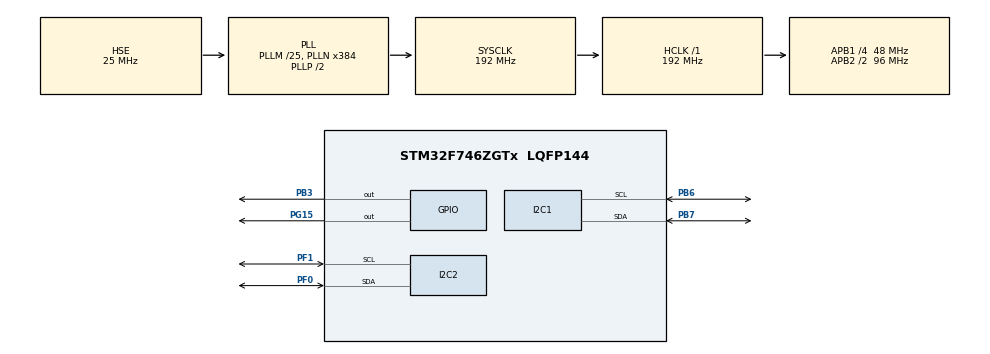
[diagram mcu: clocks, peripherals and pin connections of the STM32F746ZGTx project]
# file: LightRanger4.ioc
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I2C1.Timing=0x20303E5D
I2C2.Timing=0x20303E5D
Mcu.Family=STM32F7
Mcu.Name=STM32F746ZGTx
Mcu.Package=LQFP144
NVIC.PriorityGroup=NVIC_PRIORITYGROUP_4
PB3.Signal=GPIO_Output
PB4.Signal=S_TIM3_CH1
PB6.Mode=I2C
PB6.Signal=I2C1_SCL
PB7.Mode=I2C
PB7.Signal=I2C1_SDA
PC14/OSC32_IN.Mode=LSE-External-Oscillator
PC14/OSC32_IN.Signal=RCC_OSC32_IN
PC15/OSC32_OUT.Mode=LSE-External-Oscillator
PC15/OSC32_OUT.Signal=RCC_OSC32_OUT
PF0.Mode=I2C
PF0.Signal=I2C2_SDA
PF1.Mode=I2C
PF1.Signal=I2C2_SCL
PG15.Signal=GPIO_Output
PH0/OSC_IN.Mode=HSE-External-Oscillator
PH0/OSC_IN.Signal=RCC_OSC_IN
PH1/OSC_OUT.Mode=HSE-External-Oscillator
PH1/OSC_OUT.Signal=RCC_OSC_OUT
ProjectManager.HeapSize=0x200
ProjectManager.StackSize=0x400
ProjectManager.TargetToolchain=STM32CubeIDE
RCC.AHBFreq_Value=192000000
RCC.APB1CLKDivider=RCC_HCLK_DIV4
RCC.APB1Freq_Value=48000000
RCC.APB1TimFreq_Value=96000000
RCC.APB2CLKDivider=RCC_HCLK_DIV2
RCC.APB2Freq_Value=96000000
RCC.APB2TimFreq_Value=192000000
RCC.CortexFreq_Value=192000000
RCC.HCLKFreq_Value=192000000
RCC.HSE_VALUE=25000000
RCC.HSI_VALUE=16000000
RCC.PLLM=25
RCC.PLLN=384
RCC.PLLQ=8
RCC.PLLSourceVirtual=RCC_PLLSOURCE_HSE
RCC.SYSCLKFreq_VALUE=192000000
RCC.SYSCLKSource=RCC_SYSCLKSOURCE_PLLCLK
RCC.USBFreq_Value=48000000
RCC.VCOOutputFreq_Value=384000000
SH.S_TIM3_CH1.0=TIM3_CH1
board=custom

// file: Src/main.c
/* USER CODE BEGIN Header */
/**
  ******************************************************************************
  * @file           : main.c
  * @brief          : Main program body
  ******************************************************************************
  * @attention
  *
  * <h2><center>&copy; Copyright (c) 2021 STMicroelectronics.
  * All rights reserved.</center></h2>
  *
  * This software component is licensed by ST under Ultimate Liberty license
  * SLA0044, the "License"; You may not use this file except in compliance with
  * the License. You may obtain a copy of the License at:
  *                             www.st.com/SLA0044
  *
  ******************************************************************************
  */
/* USER CODE END Header */

#include "main.h"

/* USER CODE BEGIN Includes */
#include "SSD1963.h"
#include "STMPE610.h"
#include <math.h>

#include "GUI.h"
#include "LCDConf.h"

#include <stdint.h>
#include <stdio.h>

#include "Windows/LightRanger4_appDLG.h"
#include "vl53l1_api.h"
/* USER CODE END Includes */

/* USER CODE BEGIN PTD */
extern volatile GUI_TIMER_TIME OS_TimeMS;
/* USER CODE END PTD */

/* USER CODE BEGIN PM */
#define SHORT_DISTANCE_MODE 0
#define MEDIUM_DISTANCE_MODE 1
#define LONG_DISTANCE_MODE 2

#define TB_SHORT_LOW	20
#define TB_MEDIUM_LOW	33
#define TB_LONG_LOW 	33
#define TB_HIGH			999
#define IMP_HIGH		1004
/* USER CODE END PM */

I2C_HandleTypeDef hi2c1;
I2C_HandleTypeDef hi2c2;

/* USER CODE BEGIN PV */
uint16_t X_koordinata=0;
uint16_t Y_koordinata=0;
uint16_t keyPressed=0;

uint32_t timingBudget = 0;
uint32_t interMeasurementPeriod = 0;
int distanceMode = 0;

bool start;
/* USER CODE END PV */

void SystemClock_Config(void);
static void MX_GPIO_Init(void);
static void MX_I2C1_Init(void);
static void MX_I2C2_Init(void);

/* USER CODE BEGIN 0 */
void HAL_SYSTICK_Callback(void)
{
	OS_TimeMS++;
}
/* USER CODE END 0 */

int main(void)
{

  /* MCU Configuration--------------------------------------------------------*/

  /* Reset of all peripherals, Initializes the Flash interface and the Systick. */
  HAL_Init();

  /* Configure the system clock */
  SystemClock_Config();

  /* Initialize all configured peripherals */
  MX_GPIO_Init();
  MX_I2C1_Init();
  MX_I2C2_Init();
  /* USER CODE BEGIN 2 */
  Init_LCD_GPIO();
  Init_TOUCH_GPIO(hi2c1);
  STMPE610_Init();

  DisplayApp_Init();

  VL53L1_RangingMeasurementData_t RangingData;
  VL53L1_Dev_t  vl53l1_c; // center module
  VL53L1_DEV    Dev = &vl53l1_c;

  Dev->I2cHandle = &hi2c2;
  Dev->I2cDevAddr = 0x52;

  VL53L1_WaitDeviceBooted( Dev );
  VL53L1_DataInit( Dev );
  VL53L1_StaticInit( Dev );

  /* USER CODE END 2 */

  /* Infinite loop */
  while (1)
  {

    /* USER CODE BEGIN 3 */
	 X_koordinata=STMPE610_GetX_TOUCH();
	 Y_koordinata=STMPE610_GetY_TOUCH();

	 STMPE610_read_xyz();
	 GUI_TOUCH_Exec();
	 keyPressed=GUI_GetKey();

	 GUI_Delay(1);

	 GUI_SetColor(GUI_BLACK);
	 GUI_SetFont(&GUI_Font20B_ASCII);

	 if(OK_Button())
	 {
		 start = false;
		 VL53L1_StopMeasurement(Dev);

		 distanceMode = DistanceMode();
		 switch(distanceMode)
		 {
		 case SHORT_DISTANCE_MODE:
			 VL53L1_SetDistanceMode( Dev, VL53L1_DISTANCEMODE_SHORT );
			 timingBudget = ( (TB_HIGH - TB_SHORT_LOW) * ((float)GetTimingBudget_Percentage() / 100) ) + TB_SHORT_LOW;
			 break;
		 case MEDIUM_DISTANCE_MODE:
			 VL53L1_SetDistanceMode( Dev, VL53L1_DISTANCEMODE_MEDIUM );
			 timingBudget = ( (TB_HIGH - TB_MEDIUM_LOW) * ((float)GetTimingBudget_Percentage() / 100) ) + TB_MEDIUM_LOW;
			 break;
		 case LONG_DISTANCE_MODE:
			 VL53L1_SetDistanceMode( Dev, VL53L1_DISTANCEMODE_LONG );
			 timingBudget = ( (TB_HIGH - TB_LONG_LOW) * ((float)GetTimingBudget_Percentage() / 100) ) + TB_LONG_LOW;
			 break;
		 }

		 interMeasurementPeriod = ( (IMP_HIGH - timingBudget+4) * ((float)GetInterMeasPeriod_Percentage() / 100) ) + timingBudget+4;
		 timingBudget = timingBudget*1000;

		 VL53L1_SetDistanceMode( Dev, distanceMode );
		 VL53L1_SetMeasurementTimingBudgetMicroSeconds( Dev, timingBudget );
		 VL53L1_SetInterMeasurementPeriodMilliSeconds( Dev, interMeasurementPeriod );
	 }

	 if(START_Button())
		 start = true;

	 if(STOP_Button())
		 start = false;

	 if(start)
	 {
		 VL53L1_StartMeasurement( Dev );
		 VL53L1_WaitMeasurementDataReady( Dev );
		 VL53L1_GetRangingMeasurementData( Dev, &RangingData );
		 WriteDistance(RangingData.RangeMilliMeter);
	 }
	 else
	 {
		 VL53L1_StopMeasurement(Dev);
		 WriteDistance(-1);
	 }

  }
  /* USER CODE END 3 */
}

void SystemClock_Config(void)
{
  RCC_OscInitTypeDef RCC_OscInitStruct = {0};
  RCC_ClkInitTypeDef RCC_ClkInitStruct = {0};
  RCC_PeriphCLKInitTypeDef PeriphClkInitStruct = {0};

  /** Configure LSE Drive Capability
  */
  HAL_PWR_EnableBkUpAccess();
  /** Configure the main internal regulator output voltage
  */
  __HAL_RCC_PWR_CLK_ENABLE();
  __HAL_PWR_VOLTAGESCALING_CONFIG(PWR_REGULATOR_VOLTAGE_SCALE1);
  /** Initializes the CPU, AHB and APB busses clocks
  */
  RCC_OscInitStruct.OscillatorType = RCC_OSCILLATORTYPE_HSE;
  RCC_OscInitStruct.HSEState = RCC_HSE_ON;
  RCC_OscInitStruct.PLL.PLLState = RCC_PLL_ON;
  RCC_OscInitStruct.PLL.PLLSource = RCC_PLLSOURCE_HSE;
  RCC_OscInitStruct.PLL.PLLM = 25;
  RCC_OscInitStruct.PLL.PLLN = 384;
  RCC_OscInitStruct.PLL.PLLP = RCC_PLLP_DIV2;
  RCC_OscInitStruct.PLL.PLLQ = 8;
  if (HAL_RCC_OscConfig(&RCC_OscInitStruct) != HAL_OK)
  {
    Error_Handler();
  }
  /** Activate the Over-Drive mode
  */
  if (HAL_PWREx_EnableOverDrive() != HAL_OK)
  {
    Error_Handler();
  }
  /** Initializes the CPU, AHB and APB busses clocks
  */
  RCC_ClkInitStruct.ClockType = RCC_CLOCKTYPE_HCLK|RCC_CLOCKTYPE_SYSCLK
                              |RCC_CLOCKTYPE_PCLK1|RCC_CLOCKTYPE_PCLK2;
  RCC_ClkInitStruct.SYSCLKSource = RCC_SYSCLKSOURCE_PLLCLK;
  RCC_ClkInitStruct.AHBCLKDivider = RCC_SYSCLK_DIV1;
  RCC_ClkInitStruct.APB1CLKDivider = RCC_HCLK_DIV4;
  RCC_ClkInitStruct.APB2CLKDivider = RCC_HCLK_DIV2;

  if (HAL_RCC_ClockConfig(&RCC_ClkInitStruct, FLASH_LATENCY_6) != HAL_OK)
  {
    Error_Handler();
  }
  PeriphClkInitStruct.PeriphClockSelection = RCC_PERIPHCLK_I2C1|RCC_PERIPHCLK_I2C2;
  PeriphClkInitStruct.I2c1ClockSelection = RCC_I2C1CLKSOURCE_PCLK1;
  PeriphClkInitStruct.I2c2ClockSelection = RCC_I2C2CLKSOURCE_PCLK1;
  if (HAL_RCCEx_PeriphCLKConfig(&PeriphClkInitStruct) != HAL_OK)
  {
    Error_Handler();
  }
}

static void MX_I2C1_Init(void)
{

  hi2c1.Instance = I2C1;
  hi2c1.Init.Timing = 0x20303E5D;
  hi2c1.Init.OwnAddress1 = 0;
  hi2c1.Init.AddressingMode = I2C_ADDRESSINGMODE_7BIT;
  hi2c1.Init.DualAddressMode = I2C_DUALADDRESS_DISABLE;
  hi2c1.Init.OwnAddress2 = 0;
  hi2c1.Init.OwnAddress2Masks = I2C_OA2_NOMASK;
  hi2c1.Init.GeneralCallMode = I2C_GENERALCALL_DISABLE;
  hi2c1.Init.NoStretchMode = I2C_NOSTRETCH_DISABLE;
  if (HAL_I2C_Init(&hi2c1) != HAL_OK)
  {
    Error_Handler();
  }
  /** Configure Analogue filter
  */
  if (HAL_I2CEx_ConfigAnalogFilter(&hi2c1, I2C_ANALOGFILTER_ENABLE) != HAL_OK)
  {
    Error_Handler();
  }
  /** Configure Digital filter
  */
  if (HAL_I2CEx_ConfigDigitalFilter(&hi2c1, 0) != HAL_OK)
  {
    Error_Handler();
  }

}

static void MX_I2C2_Init(void)
{

  hi2c2.Instance = I2C2;
  hi2c2.Init.Timing = 0x20303E5D;
  hi2c2.Init.OwnAddress1 = 0;
  hi2c2.Init.AddressingMode = I2C_ADDRESSINGMODE_7BIT;
  hi2c2.Init.DualAddressMode = I2C_DUALADDRESS_DISABLE;
  hi2c2.Init.OwnAddress2 = 0;
  hi2c2.Init.OwnAddress2Masks = I2C_OA2_NOMASK;
  hi2c2.Init.GeneralCallMode = I2C_GENERALCALL_DISABLE;
  hi2c2.Init.NoStretchMode = I2C_NOSTRETCH_DISABLE;
  if (HAL_I2C_Init(&hi2c2) != HAL_OK)
  {
    Error_Handler();
  }
  /** Configure Analogue filter
  */
  if (HAL_I2CEx_ConfigAnalogFilter(&hi2c2, I2C_ANALOGFILTER_ENABLE) != HAL_OK)
  {
    Error_Handler();
  }
  /** Configure Digital filter
  */
  if (HAL_I2CEx_ConfigDigitalFilter(&hi2c2, 0) != HAL_OK)
  {
    Error_Handler();
  }

}

static void MX_GPIO_Init(void)
{
  GPIO_InitTypeDef GPIO_InitStruct = {0};

  /* GPIO Ports Clock Enable */
  __HAL_RCC_GPIOC_CLK_ENABLE();
  __HAL_RCC_GPIOF_CLK_ENABLE();
  __HAL_RCC_GPIOH_CLK_ENABLE();
  __HAL_RCC_GPIOG_CLK_ENABLE();
  __HAL_RCC_GPIOB_CLK_ENABLE();

  /*Configure GPIO pin Output Level */
  HAL_GPIO_WritePin(GPIOG, GPIO_PIN_15, GPIO_PIN_RESET);

  /*Configure GPIO pin Output Level */
  HAL_GPIO_WritePin(GPIOB, GPIO_PIN_3, GPIO_PIN_RESET);

  /*Configure GPIO pin : PG15 */
  GPIO_InitStruct.Pin = GPIO_PIN_15;
  GPIO_InitStruct.Mode = GPIO_MODE_OUTPUT_PP;
  GPIO_InitStruct.Pull = GPIO_NOPULL;
  GPIO_InitStruct.Speed = GPIO_SPEED_FREQ_LOW;
  HAL_GPIO_Init(GPIOG, &GPIO_InitStruct);

  /*Configure GPIO pin : PB3 */
  GPIO_InitStruct.Pin = GPIO_PIN_3;
  GPIO_InitStruct.Mode = GPIO_MODE_OUTPUT_PP;
  GPIO_InitStruct.Pull = GPIO_NOPULL;
  GPIO_InitStruct.Speed = GPIO_SPEED_FREQ_LOW;
  HAL_GPIO_Init(GPIOB, &GPIO_InitStruct);

  /*Configure GPIO pin : PB4 */
  GPIO_InitStruct.Pin = GPIO_PIN_4;
  GPIO_InitStruct.Mode = GPIO_MODE_AF_PP;
  GPIO_InitStruct.Pull = GPIO_NOPULL;
  GPIO_InitStruct.Speed = GPIO_SPEED_FREQ_LOW;
  GPIO_InitStruct.Alternate = GPIO_AF2_TIM3;
  HAL_GPIO_Init(GPIOB, &GPIO_InitStruct);

}

/* USER CODE BEGIN 4 */

/*void setLedIntensity(uint8_t value)
{
htim3.Instance ->CCR1 = value;

}*/

/* USER CODE END 4 */

void Error_Handler(void)
{
}

/************************ (C) COPYRIGHT STMicroelectronics *****END OF FILE****/
